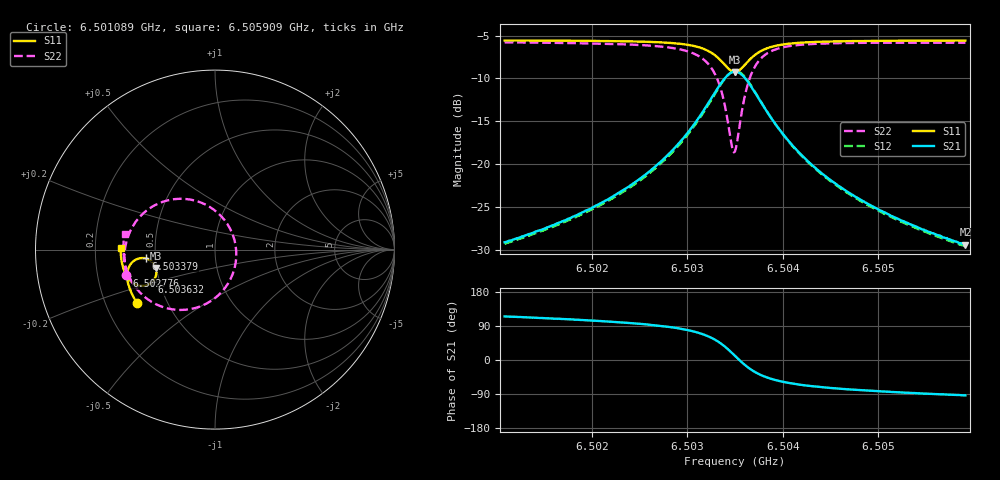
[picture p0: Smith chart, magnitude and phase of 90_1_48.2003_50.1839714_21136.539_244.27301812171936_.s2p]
#  HZ  S  RI  R  50.00
! Rohde & Schwarz Vector Network Analyzer
! Rohde-Schwarz,ZNB20-2Port,1311601062101988,3.16
! Created: UTC 3/20/2024, 11:40:02 AM
! freq[Hz]  re:S11  im:S11  re:S21  im:S21  re:S12  im:S12  re:S22  im:S22
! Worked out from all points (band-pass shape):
!   401 points, 6.501089 GHz to 6.505909 GHz, reference 50 ohm
!   highest |S21| = -9.21 dB at 6.503499 GHz (marker M1); lowest = -29.4 dB at 6.505909 GHz (marker M2)
!   |S21| within 3 dB of the highest: 6.503258 GHz to 6.503739 GHz (481.4 kHz wide, 0.0074 % of centre)
!   lowest |S11| = -9.2 dB at 6.503499 GHz (marker M3), VSWR 2.05, Z = 24.8 - j5.76 ohm
!   |S11| at or under -10 dB: nowhere
!   |S22| runs from -18.6 to -5.8 dB; largest |S21 - S12| = 0.012
!   S11 on the Smith chart (normalised r, x): 6.501089 GHz: 0.34, -0.28; 6.502776 GHz: 0.33, -0.13; 6.503379 GHz: 0.44, -0.05; 6.503632 GHz: 0.45, -0.20; 6.505909 GHz: 0.31, +0.01
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6.5010894e9  -0.4327 -0.3001  -0.0148 0.0317  -0.013 0.0317  -0.4938 -0.1404
6.5018967e9  -0.4663 -0.2393  -0.0139 0.0503  -0.0115 0.0497  -0.5043 -0.0521
6.5023425e9  -0.4815 -0.1987  -0.0107 0.0705  -0.00764 0.0692  -0.4996 0.0141
6.502704e9  -0.4893 -0.1573  -0.000927 0.101  0.00268 0.0986  -0.4779 0.0902
6.5027763e9  -0.4899 -0.1472  0.00314 0.1102  0.00687 0.1072  -0.4689 0.11
6.5029811e9  -0.4857 -0.1137  0.0252 0.1446  0.0287 0.1401  -0.423 0.1781
6.5031378e9  -0.4706 -0.0815  0.0656 0.1812  0.0682 0.1753  -0.3441 0.2423
6.5032824e9  -0.4316 -0.0517  0.1493 0.2103  0.1501 0.204  -0.1911 0.283
6.5033788e9  -0.384 -0.0493  0.2429 0.1926  0.243 0.188  -0.029 0.2376
6.5034631e9  -0.3404 -0.0796  0.3226 0.1156  0.3251 0.1114  0.098 0.0854
6.5034993e9  -0.3293 -0.1023  0.3402 0.0657  0.3438 0.0601  0.1183 -0.00889
6.5035234e9  -0.3265 -0.119  0.3435 0.0301  0.3474 0.0232  0.1153 -0.0739
6.5035595e9  -0.3288 -0.1437  0.3353 -0.0211  0.339 -0.0301  0.0861 -0.1647
6.5036318e9  -0.3517 -0.1814  0.287 -0.0986  0.2868 -0.1104  -0.028 -0.2896
6.50368e9  -0.3727 -0.1952  0.2459 -0.1277  0.2429 -0.1393  -0.1142 -0.3264
6.5037402e9  -0.3982 -0.2019  0.198 -0.1441  0.1925 -0.1541  -0.2084 -0.3357
6.5038969e9  -0.4461 -0.1924  0.1124 -0.1396  0.1051 -0.1449  -0.3623 -0.2853
6.5040656e9  -0.4744 -0.1709  0.0662 -0.118  0.0597 -0.1204  -0.4368 -0.2172
6.5043066e9  -0.4954 -0.1412  0.0352 -0.0922  0.03 -0.0927  -0.4815 -0.1427
6.5046439e9  -0.5105 -0.1049  0.0163 -0.069  0.0129 -0.0686  -0.5035 -0.0706
6.5051139e9  -0.5208 -0.0604  0.0053 -0.0504  0.00294 -0.0497  -0.5108 -0.000562
6.5059091e9  -0.5261 0.00744  -0.00204 -0.0338  -0.00335 -0.0331  -0.5035 0.0861
